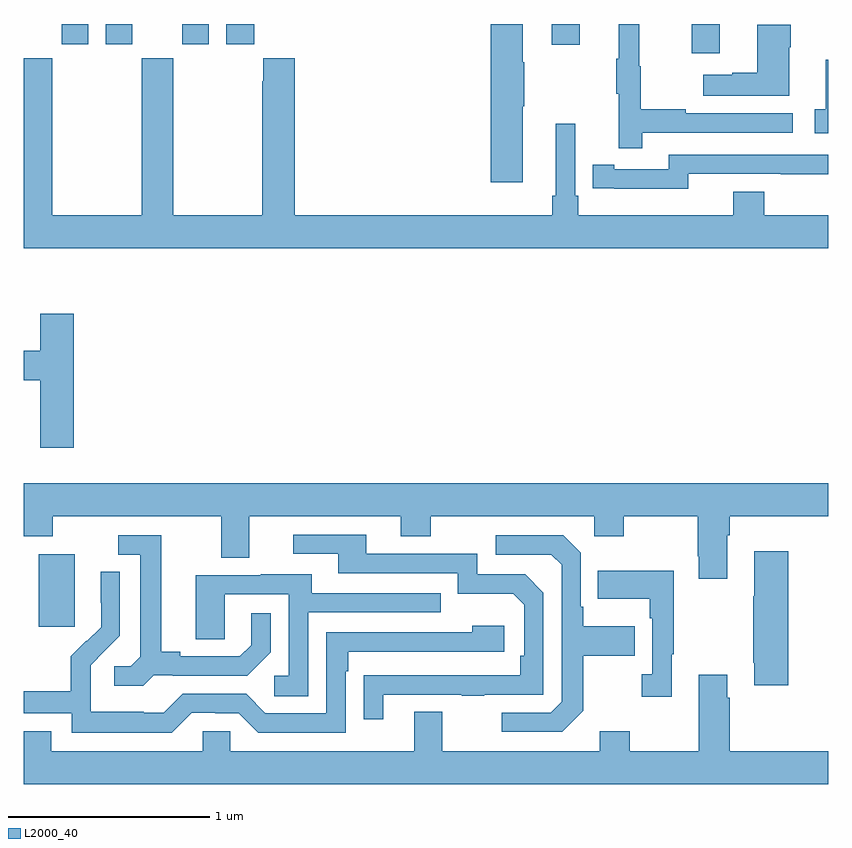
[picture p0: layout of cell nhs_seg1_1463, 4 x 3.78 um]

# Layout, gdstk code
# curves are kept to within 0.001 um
import gdstk
lib = gdstk.Library(unit=1e-6, precision=1e-09)
def R(c, l, rs):  # rectangles x0, y0, x1, y1
    for r in rs: c.add(gdstk.rectangle(r[:2], r[2:], *l))
def P(c, l, *ps):  # polygons
    for p in ps: c.add(gdstk.Polygon(p, *l))
L2000_40 = (2000, 40)

nhs_seg1_1463 = lib.new_cell('nhs_seg1_1463')
R(nhs_seg1_1463, L2000_40, [(191.075,531.201,191.254,531.562), (194.321,534.054,194.461,534.199), (193.625,534.096,193.765,534.199), (191.189,534.099,191.32,534.199), (191.408,534.099,191.539,534.199), (191.789,534.099,191.92,534.199), (192.008,534.099,192.145,534.199)])
P(nhs_seg1_1463, L2000_40, [(194.075,533.658),(194.824,533.658),(194.824,533.754),(194.291,533.754),(194.291,533.774),(194.068,533.774),(194.068,533.988),(194.06,533.988),(194.06,534.199),(193.958,534.199),(193.958,534.025),(193.947,534.025),(193.947,533.851),(193.958,533.851),(193.958,533.58),(194.075,533.58)],
  [(193.48,533.791),(193.488,533.791),(193.488,534.008),(193.48,534.008),(193.48,534.199),(193.322,534.199),(193.322,533.412),(193.48,533.412)],
  [(194.806,534.083),(194.814,534.083),(194.814,534.196),(194.648,534.196),(194.648,533.957),(194.522,533.957),(194.522,533.947),(194.379,533.947),(194.379,533.843),(194.806,533.843)],
  [(191.587,534.028),(191.587,533.248),(191.142,533.248),(191.142,534.028),(191,534.028),(191,533.084),(195,533.084),(195,533.248),(194.681,533.248),(194.681,533.365),(194.528,533.365),(194.528,533.248),(193.757,533.248),(193.757,533.344),(193.743,533.344),(193.743,533.704),(193.646,533.704),(193.646,533.344),(193.627,533.344),(193.627,533.248),(192.347,533.248),(192.347,534.028),(192.191,534.028),(192.191,533.915),(192.187,533.915),(192.187,533.248),(191.742,533.248),(191.742,534.028)],
  [(195,534.022),(194.987,534.022),(194.987,533.775),(194.934,533.775),(194.934,533.655),(195,533.655)],
  [(194.304,533.454),(194.764,533.454),(194.764,533.453),(195,533.453),(195,533.55),(194.208,533.55),(194.208,533.478),(193.936,533.478),(193.936,533.498),(193.828,533.498),(193.828,533.382),(193.936,533.382),(193.936,533.381),(194.304,533.381)],
  [(191.249,532.759),(191.081,532.759),(191.081,532.574),(191,532.574),(191,532.427),(191.081,532.427),(191.081,532.092),(191.249,532.092)],
  [(194.497,531.656),(194.51,531.656),(194.51,531.752),(195,531.752),(195,531.916),(191,531.916),(191,531.653),(191.145,531.653),(191.145,531.752),(191.981,531.752),(191.981,531.544),(192.121,531.544),(192.121,531.752),(192.875,531.752),(192.875,531.653),(193.023,531.653),(193.023,531.752),(193.836,531.752),(193.836,531.653),(193.983,531.653),(193.983,531.752),(194.35,531.752),(194.35,531.553),(194.357,531.553),(194.357,531.441),(194.497,531.441)],
  [(192.787,530.865),(193.177,530.865),(193.177,530.86),(193.289,530.86),(193.289,530.865),(193.584,530.865),(193.584,531.372),(193.494,531.462),(193.254,531.462),(193.254,531.564),(192.703,531.564),(192.703,531.66),(192.339,531.66),(192.339,531.564),(192.563,531.564),(192.563,531.468),(193.158,531.468),(193.158,531.365),(193.435,531.365),(193.488,531.312),(193.488,531.058),(193.468,531.058),(193.468,530.961),(192.691,530.96),(192.691,530.742),(192.787,530.742)],
  [(191.646,530.961),(191.74,530.961),(191.74,530.958),(192.112,530.958),(192.228,531.074),(192.228,531.268),(192.131,531.268),(192.131,531.111),(192.074,531.054),(191.779,531.054),(191.779,531.077),(191.683,531.077),(191.683,531.657),(191.469,531.657),(191.469,531.561),(191.579,531.561),(191.579,531.053),(191.532,531.006),(191.451,531.006),(191.451,530.909),(191.594,530.909)],
  [(193.783,530.785),(193.783,531.058),(194.039,531.058),(194.039,531.205),(193.783,531.205),(193.783,531.301),(193.77,531.301),(193.77,531.57),(193.683,531.657),(193.347,531.657),(193.347,531.561),(193.623,531.561),(193.674,531.51),(193.674,530.829),(193.62,530.775),(193.377,530.775),(193.377,530.679),(193.677,530.679)],
  [(194.801,531.577),(194.633,531.577),(194.633,531.353),(194.626,531.353),(194.626,531.022),(194.633,531.022),(194.633,530.91),(194.801,530.91)],
  [(194.221,531.065),(194.233,531.065),(194.233,531.481),(193.855,531.481),(193.855,531.341),(194.112,531.341),(194.112,531.245),(194.124,531.245),(194.124,530.966),(194.073,530.966),(194.073,530.853),(194.221,530.853)],
  [(191.835,530.775),(191.951,530.775),(191.951,530.772),(192.069,530.772),(192.165,530.676),(192.6,530.676),(192.6,530.981),(192.613,530.981),(192.613,531.078),(193.39,531.078),(193.39,531.208),(193.229,531.208),(193.229,531.174),(192.504,531.174),(192.504,530.772),(192.201,530.772),(192.105,530.868),(191.79,530.868),(191.697,530.775),(191.597,530.775),(191.597,530.779),(191.334,530.779),(191.334,530.913),(191.332,530.913),(191.332,531.01),(191.478,531.158),(191.478,531.476),(191.382,531.476),(191.382,531.322),(191.384,531.322),(191.384,531.2),(191.313,531.129),(191.31,531.132),(191.233,531.055),(191.233,530.881),(191,530.881),(191,530.772),(191.238,530.772),(191.238,530.675),(191.735,530.675)],
  [(192.414,531.273),(193.073,531.273),(193.073,531.369),(192.433,531.369),(192.433,531.463),(192.179,531.463),(192.179,531.459),(191.855,531.459),(191.855,531.139),(192,531.139),(192,531.363),(192.318,531.363),(192.318,530.958),(192.246,530.958),(192.246,530.857),(192.414,530.857)],
  [(195,530.584),(194.51,530.584),(194.51,530.849),(194.497,530.849),(194.497,530.962),(194.357,530.962),(194.357,530.584),(194.013,530.584),(194.013,530.683),(193.865,530.683),(193.865,530.584),(193.081,530.584),(193.081,530.779),(192.941,530.779),(192.941,530.584),(192.027,530.584),(192.027,530.682),(191.889,530.682),(191.889,530.584),(191.137,530.584),(191.137,530.683),(191,530.683),(191,530.42),(195,530.42)])

lib.write_gds('nhs_seg1_1463.gds')
